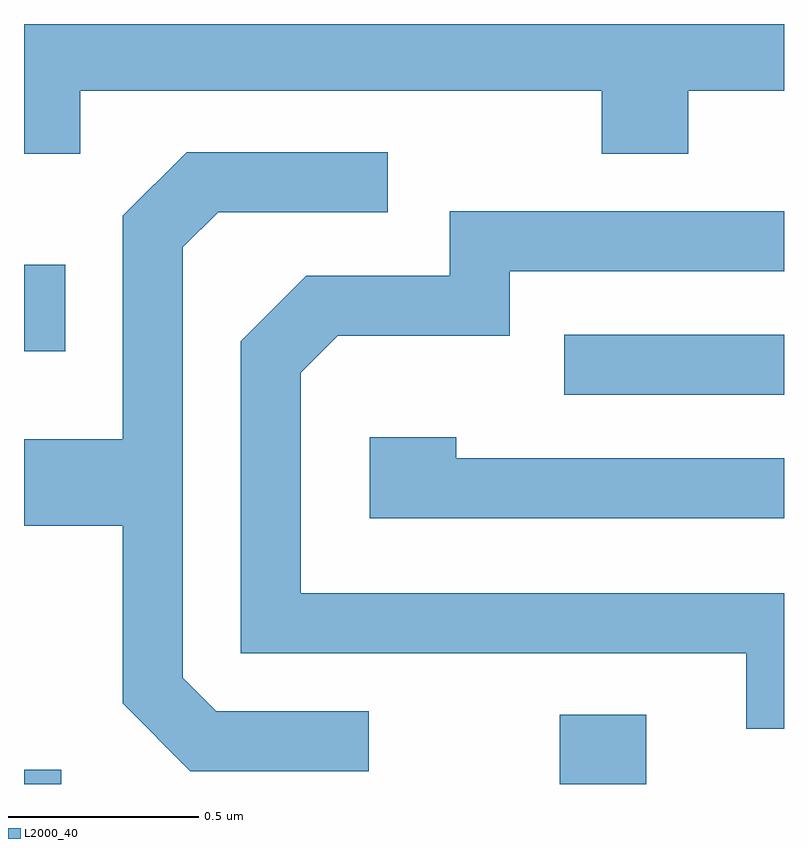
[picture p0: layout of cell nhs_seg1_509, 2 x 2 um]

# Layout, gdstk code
import gdstk
lib = gdstk.Library(unit=1e-6, precision=1e-09)
def R(c, l, rs):  # rectangles x0, y0, x1, y1
    for r in rs: c.add(gdstk.rectangle(r[:2], r[2:], *l))
def P(c, l, *ps):  # polygons
    for p in ps: c.add(gdstk.Polygon(p, *l))
L2000_40 = (2000, 40)

nhs_seg1_509 = lib.new_cell('nhs_seg1_509')
R(nhs_seg1_509, L2000_40, [(188.611,937.712,188.709,937.749), (190.021,937.712,190.249,937.894), (190.033,938.736,190.611,938.894), (188.611,938.851,188.719,939.079)])
P(nhs_seg1_509, L2000_40, [(188.759,939.536),(190.131,939.536),(190.131,939.371),(190.359,939.371),(190.359,939.536),(190.611,939.536),(190.611,939.712),(188.611,939.712),(188.611,939.371),(188.759,939.371)],
  [(189.518,937.904),(189.117,937.904),(189.029,937.992),(189.029,939.124),(189.122,939.216),(189.568,939.216),(189.568,939.374),(189.039,939.374),(188.871,939.207),(188.871,938.619),(188.611,938.619),(188.611,938.391),(188.871,938.391),(188.871,937.924),(189.049,937.746),(189.518,937.746)],
  [(190.611,938.214),(189.339,938.214),(189.339,938.794),(189.437,938.891),(189.889,938.891),(189.889,939.061),(190.611,939.061),(190.611,939.219),(189.731,939.219),(189.731,939.049),(189.354,939.049),(189.181,938.877),(189.181,938.056),(190.511,938.056),(190.511,937.858),(190.611,937.858)],
  [(190.611,938.569),(189.749,938.569),(189.749,938.624),(189.521,938.624),(189.521,938.411),(190.611,938.411)])

lib.write_gds('nhs_seg1_509.gds')
